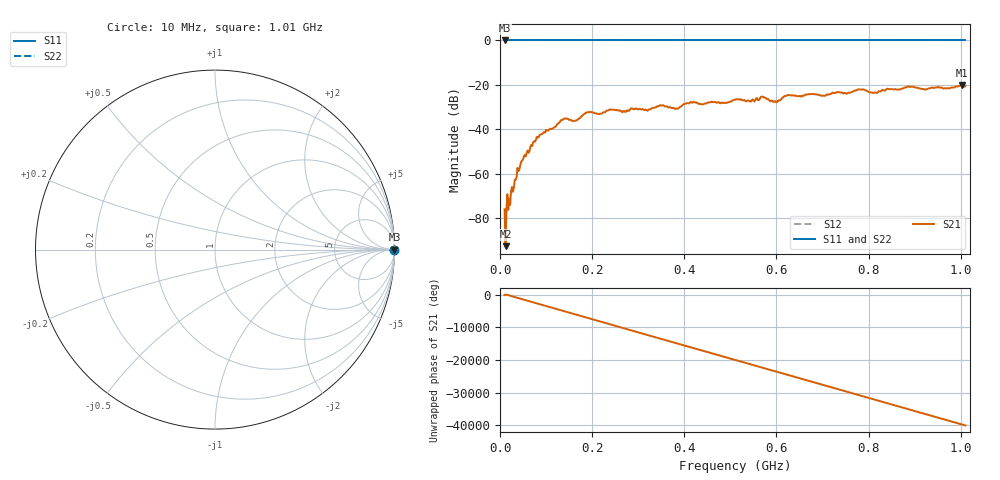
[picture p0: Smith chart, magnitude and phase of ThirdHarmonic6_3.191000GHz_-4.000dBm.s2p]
! 8/17/2025 9:39:42 AM
! C:\ANRITSUVNA\TEMP\TEMP.S2P
! CHANNEL.1
! TR.MEASUREMENT
! RAW.DATA
! RF.CORRECTION.OFF
! AVERAGING.OFF
! IF.BANDWIDTH: 5KHZ
! SWEEPTYPE:  FREQ.SWEEP(Linear)
! Reference Plane Port Info
! PORT:  PORT1  PORT2
! DISTANCE:  0  m  0  m
! TIME:  0  s  0  s
! PHASE.OFFSET:  0  deg.  0  deg.
! LOSS:  0  dB  0  dB
! REF.LOSS:  0  dB  0  dB
! REF.FREQ:  0  Hz  0  Hz
! Power Info
! POWER:  -20  dBm  -20  dBm
! EFF.POWER:  -20  dBm  -20  dBm
! SOURCE.ATTEN:  0  dB  0  dB
! TEST.ATTEN:  0  dB  0  dB
# GHZ S RI R 50.0
! FREQ.GHZ  S11RE  S11IM  S21RE  S21IM  S12RE  S12IM  S22RE  S22IM
!; PortSelection: Port_12
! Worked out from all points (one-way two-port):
!   501 points, 10 MHz to 1.01 GHz, reference 50 ohm
!   highest |S21| = -20.04 dB at 1.002 GHz (marker M1); lowest = -92.5 dB at 12 MHz (marker M2)
!   lowest |S11| = 0.0 dB at 10 MHz (marker M3)
!   |S11| at or under -10 dB: nowhere
!   |S22| runs from 0.0 to 0.0 dB; largest |S21 - S12| = 1.1
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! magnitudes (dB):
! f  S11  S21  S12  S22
! 10 MHz  0.0  -75.9  0.0  0.0
! 12 MHz  0.0  -92.5  0.0  0.0
! 16 MHz  0.0  -69.1  0.0  0.0
! 48 MHz  0.0  -54.0  0.0  0.0
! 76 MHz  0.0  -45.5  0.0  0.0
! 136 MHz  0.0  -35.7  0.0  0.0
! 162 MHz  0.0  -36.1  0.0  0.0
! 178 MHz  0.0  -33.8  0.0  0.0
! 192 MHz  0.0  -32.3  0.0  0.0
! 318 MHz  0.0  -31.3  0.0  0.0
! 344 MHz  0.0  -29.6  0.0  0.0
! 384 MHz  0.0  -30.7  0.0  0.0
! 416 MHz  0.0  -27.9  0.0  0.0
! 510 MHz  0.0  -26.6  0.0  0.0
! 570 MHz  0.0  -25.3  0.0  0.0
! 598 MHz  0.0  -27.4  0.0  0.0
! 624 MHz  0.0  -24.6  0.0  0.0
! 678 MHz  0.0  -24.1  0.0  0.0
! 814 MHz  0.0  -23.4  0.0  0.0
! 844 MHz  0.0  -21.9  0.0  0.0
! 1.002 GHz  0.0  -20.0  0.0  0.0
! 1.01 GHz  0.0  -20.5  0.0  0.0
